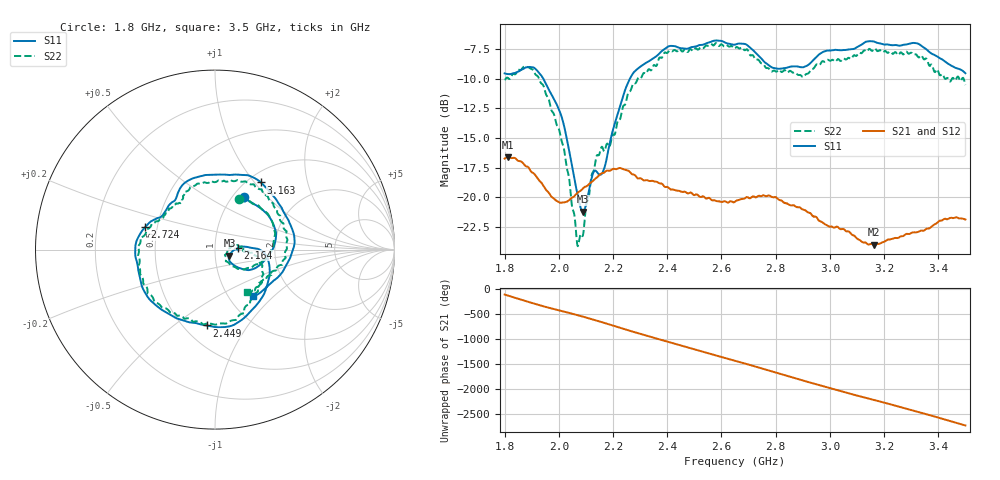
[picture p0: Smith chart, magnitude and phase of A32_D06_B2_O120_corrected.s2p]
! Created with skrf 1.9.0 (http://scikit-rf.org).
# Hz S RI R 50.0
!freq ReS11 ImS11 ReS21 ImS21 ReS12 ImS12 ReS22 ImS22
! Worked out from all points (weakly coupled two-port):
!   1601 points, 1.8 GHz to 3.5 GHz, reference 50 ohm
!   highest |S21| = -16.64 dB at 1.814 GHz (marker M1); lowest = -24.0 dB at 3.162 GHz (marker M2)
!   lowest |S11| = -21.2 dB at 2.09 GHz (marker M3), VSWR 1.19, Z = 58.6 - j3.89 ohm
!   |S11| at or under -10 dB: 1.943 GHz to 2.262 GHz (319.3 MHz wide, 15.2 % of centre)
!   |S22| runs from -24.1 to -7.0 dB; largest |S21 - S12| = 0.0024
!   S11 on the Smith chart (normalised r, x): 1.8 GHz: 1.12, +0.74; 2.164 GHz: 1.30, +0.03; 2.449 GHz: 0.64, -0.66; 2.724 GHz: 0.43, +0.13; 3.163 GHz: 1.15, +1.08; 3.5 GHz: 1.28, -0.75
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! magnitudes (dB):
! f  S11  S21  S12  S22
! 1.8 GHz  -9.5  -16.7  -16.7  -10.1
! 1.814 GHz  -9.6  -16.6  -16.6  -10.0
! 1.882 GHz  -9.0  -17.4  -17.4  -9.0
! 1.942 GHz  -10.0  -19.0  -19.0  -10.5
! 2.013 GHz  -13.4  -20.4  -20.4  -15.4
! 2.067 GHz  -19.5  -19.7  -19.7  -23.8
! 2.084 GHz  -21.1  -19.4  -19.3  -23.2
! 2.09 GHz  -21.2  -19.2  -19.3  -23.1
! 2.128 GHz  -17.9  -18.6  -18.6  -17.8
! 2.164 GHz  -17.7  -17.9  -17.9  -16.0
! 2.259 GHz  -10.2  -17.8  -17.8  -11.1
! 2.367 GHz  -8.0  -18.8  -18.7  -8.4
! 2.449 GHz  -7.4  -19.5  -19.5  -7.5
! 2.65 GHz  -7.1  -20.4  -20.3  -7.4
! 2.724 GHz  -7.8  -20.0  -19.9  -8.3
! 2.8 GHz  -9.1  -20.0  -20.0  -9.4
! 2.934 GHz  -8.6  -21.5  -21.5  -9.2
! 3.162 GHz  -6.9  -24.0  -23.9  -7.5
! 3.163 GHz  -6.9  -24.0  -24.0  -7.5
! 3.217 GHz  -7.1  -23.6  -23.5  -7.8
! 3.324 GHz  -7.0  -22.9  -22.9  -8.1
! 3.5 GHz  -9.5  -21.9  -21.8  -10.5
